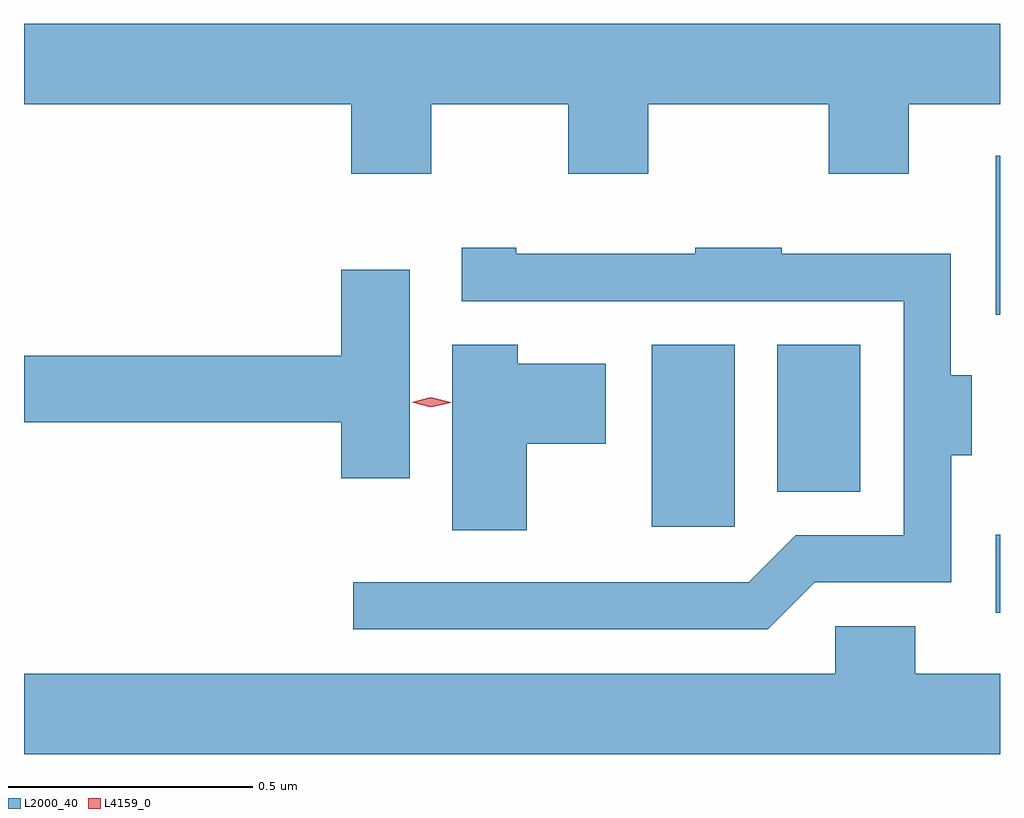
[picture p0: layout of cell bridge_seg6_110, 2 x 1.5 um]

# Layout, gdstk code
import gdstk
lib = gdstk.Library(unit=1e-6, precision=1e-09)
def R(c, l, rs):  # rectangles x0, y0, x1, y1
    for r in rs: c.add(gdstk.rectangle(r[:2], r[2:], *l))
def P(c, l, *ps):  # polygons
    for p in ps: c.add(gdstk.Polygon(p, *l))
L2000_40 = (2000, 40)
L4159_0 = (4159, 0)

bridge_seg6_110 = lib.new_cell('bridge_seg6_110')
R(bridge_seg6_110, L2000_40, [(464.165,990.249,464.174,990.409), (463.46,990.426,463.63,990.799), (463.718,990.497,463.888,990.799), (464.165,990.86,464.174,991.186)])
P(bridge_seg6_110, L2000_40, [(463.009,991.292),(463.289,991.292),(463.289,991.149),(463.453,991.149),(463.453,991.292),(463.823,991.292),(463.823,991.149),(463.987,991.149),(463.987,991.292),(464.174,991.292),(464.174,991.456),(462.174,991.456),(462.174,991.292),(462.845,991.292),(462.845,991.149),(463.009,991.149)],
  [(463.794,990.312),(464.074,990.312),(464.074,990.572),(464.116,990.572),(464.116,990.736),(464.073,990.736),(464.073,990.985),(463.727,990.985),(463.727,990.997),(463.549,990.997),(463.549,990.985),(463.183,990.985),(463.183,990.997),(463.071,990.997),(463.071,990.888),(463.977,990.888),(463.977,990.408),(463.755,990.408),(463.659,990.312),(462.849,990.312),(462.849,990.216),(463.698,990.216)],
  [(462.964,990.952),(462.824,990.952),(462.824,990.776),(462.174,990.776),(462.174,990.64),(462.824,990.64),(462.824,990.525),(462.964,990.525)],
  [(463.204,990.596),(463.366,990.596),(463.366,990.76),(463.186,990.76),(463.186,990.799),(463.052,990.799),(463.052,990.419),(463.204,990.419)],
  [(464.174,990.124),(464,990.124),(464,990.222),(463.836,990.222),(463.836,990.124),(462.174,990.124),(462.174,989.96),(464.174,989.96)])
P(bridge_seg6_110, L4159_0, [(463.008,990.671),(462.969,990.681),(462.968,990.681),(462.969,990.681),(463.008,990.691),(463.048,990.681),(463.048,990.681),(463.048,990.68)])

lib.write_gds('bridge_seg6_110.gds')
